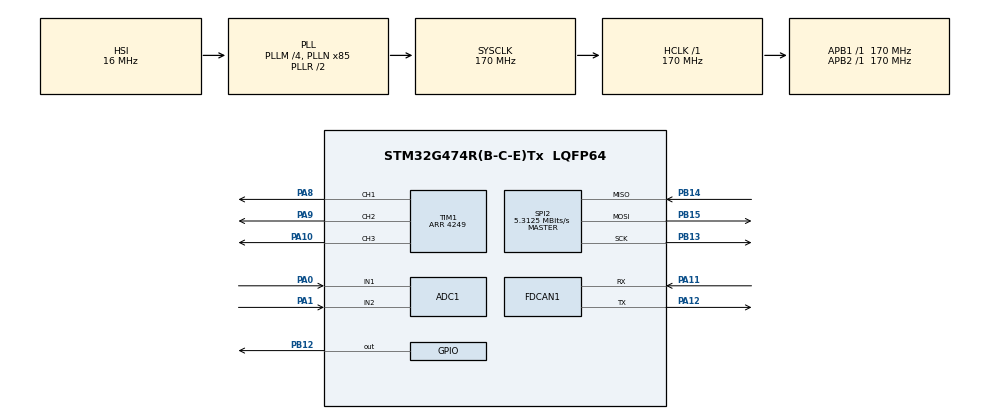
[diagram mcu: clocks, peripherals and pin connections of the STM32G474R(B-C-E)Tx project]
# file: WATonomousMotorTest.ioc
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ADC1.Channel-0\#ChannelRegularConversion=ADC_CHANNEL_1
ADC1.Channel-1\#ChannelRegularConversion=ADC_CHANNEL_2
ADC1.ExternalTrigConv=ADC_EXTERNALTRIG_T1_TRGO
ADC1.NbrOfConversion=2
ADC1.NbrOfConversionFlag=1
ADC1.OffsetNumber-0\#ChannelRegularConversion=ADC_OFFSET_NONE
ADC1.OffsetNumber-1\#ChannelRegularConversion=ADC_OFFSET_NONE
ADC1.Rank-0\#ChannelRegularConversion=1
ADC1.Rank-1\#ChannelRegularConversion=2
ADC1.SamplingTime-0\#ChannelRegularConversion=ADC_SAMPLETIME_2CYCLES_5
ADC1.SamplingTime-1\#ChannelRegularConversion=ADC_SAMPLETIME_2CYCLES_5
ADC1.master=1
Dma.ADC1.0.Direction=DMA_PERIPH_TO_MEMORY
Dma.ADC1.0.EventEnable=DISABLE
Dma.ADC1.0.Instance=DMA1_Channel1
Dma.ADC1.0.MemDataAlignment=DMA_MDATAALIGN_HALFWORD
Dma.ADC1.0.MemInc=DMA_MINC_ENABLE
Dma.ADC1.0.Mode=DMA_CIRCULAR
Dma.ADC1.0.PeriphDataAlignment=DMA_PDATAALIGN_HALFWORD
Dma.ADC1.0.PeriphInc=DMA_PINC_DISABLE
Dma.ADC1.0.Polarity=HAL_DMAMUX_REQ_GEN_RISING
Dma.ADC1.0.Priority=DMA_PRIORITY_LOW
Dma.ADC1.0.RequestNumber=1
Dma.ADC1.0.SignalID=NONE
Dma.ADC1.0.SyncEnable=DISABLE
Dma.ADC1.0.SyncPolarity=HAL_DMAMUX_SYNC_NO_EVENT
Dma.ADC1.0.SyncRequestNumber=1
Dma.ADC1.0.SyncSignalID=NONE
Dma.Request0=ADC1
FDCAN1.CalculateBaudRateNominal=1000000
FDCAN1.CalculateTimeBitNominal=1000
FDCAN1.CalculateTimeQuantumNominal=100.0
FDCAN1.NominalPrescaler=17
FDCAN1.NominalTimeSeg1=5
FDCAN1.NominalTimeSeg2=4
Mcu.Family=STM32G4
Mcu.Name=STM32G474R(B-C-E)Tx
Mcu.Package=LQFP64
NUCLEO-G474RE.BUTTON=1
NUCLEO-G474RE.LD2=true
NUCLEO-G474RE.VCP=true
NVIC.DMA1_Channel1_IRQn=true\:0\:0\:false\:false\:true\:false\:true\:true
NVIC.EXTI15_10_IRQn=true\:0\:0\:false\:false\:true\:false\:true\:true
NVIC.PriorityGroup=NVIC_PRIORITYGROUP_4
NVIC.TIM1_UP_TIM16_IRQn=true\:0\:0\:false\:false\:true\:true\:true\:true
PA0.Mode=IN1-Single-Ended
PA0.Signal=ADC1_IN1
PA1.Mode=IN2-Single-Ended
PA1.Signal=ADC1_IN2
PA10.Signal=S_TIM1_CH3
PA11.Mode=FDCAN_Activate
PA11.Signal=FDCAN1_RX
PA12.Mode=FDCAN_Activate
PA12.Signal=FDCAN1_TX
PA13.GPIO_Label=T_SWDIO
PA13.Signal=SYS_JTMS-SWDIO
PA14.GPIO_Label=T_SWCLK
PA14.Signal=SYS_JTCK-SWCLK
PA2.Signal=LPUART1_TX
PA3.Signal=LPUART1_RX
PA8.Signal=S_TIM1_CH1
PA9.Signal=S_TIM1_CH2
PB12.Signal=GPIO_Output
PB13.Mode=Full_Duplex_Master
PB13.Signal=SPI2_SCK
PB14.Mode=Full_Duplex_Master
PB14.Signal=SPI2_MISO
PB15.Mode=Full_Duplex_Master
PB15.Signal=SPI2_MOSI
PB3.GPIO_Label=T_SWO
PB3.Signal=SYS_JTDO-SWO
PC14-OSC32_IN.GPIO_Label=RCC_OSC32_IN
PC14-OSC32_IN.Signal=RCC_OSC32_IN
PC15-OSC32_OUT.GPIO_Label=RCC_OSC32_OUT
PC15-OSC32_OUT.Signal=RCC_OSC32_OUT
PF0-OSC_IN.GPIO_Label=RCC_OSC_IN
PF0-OSC_IN.Signal=RCC_OSC_IN
PF1-OSC_OUT.GPIO_Label=RCC_OSC_OUT
PF1-OSC_OUT.Signal=RCC_OSC_OUT
ProjectManager.HeapSize=0x200
ProjectManager.StackSize=0x400
ProjectManager.TargetToolchain=STM32CubeIDE
RCC.ADC12Freq_Value=170000000
RCC.ADC345Freq_Value=170000000
RCC.AHBFreq_Value=170000000
RCC.APB1Freq_Value=170000000
RCC.APB1TimFreq_Value=170000000
RCC.APB2Freq_Value=170000000
RCC.APB2TimFreq_Value=170000000
RCC.CortexFreq_Value=170000000
RCC.EXTERNAL_CLOCK_VALUE=12288000
RCC.HCLKFreq_Value=170000000
RCC.HSE_VALUE=24000000
RCC.HSI48_VALUE=48000000
RCC.HSI_VALUE=16000000
RCC.LSE_VALUE=32768
RCC.PLLM=RCC_PLLM_DIV4
RCC.PLLN=85
RCC.RTCClockSelection=RCC_RTCCLKSOURCE_LSE
RCC.SYSCLKFreq_VALUE=170000000
RCC.SYSCLKSource=RCC_SYSCLKSOURCE_PLLCLK
RCC.USBFreq_Value=170000000
RCC.VCOOutputFreq_Value=340000000
SH.S_TIM1_CH1.0=TIM1_CH1,PWM Generation1 CH1
SH.S_TIM1_CH2.0=TIM1_CH2,PWM Generation2 CH2
SH.S_TIM1_CH3.0=TIM1_CH3,PWM Generation3 CH3
SPI2.BaudRatePrescaler=SPI_BAUDRATEPRESCALER_32
SPI2.CalculateBaudRate=5.3125 MBits/s
SPI2.DataSize=SPI_DATASIZE_8BIT
SPI2.Direction=SPI_DIRECTION_2LINES
SPI2.Mode=SPI_MODE_MASTER
SPI2.VirtualType=VM_MASTER
TIM1.AutoReloadPreload=TIM_AUTORELOAD_PRELOAD_ENABLE
TIM1.Channel-PWM\ Generation1\ CH1=TIM_CHANNEL_1
TIM1.Channel-PWM\ Generation2\ CH2=TIM_CHANNEL_2
TIM1.Channel-PWM\ Generation3\ CH3=TIM_CHANNEL_3
TIM1.CounterMode=TIM_COUNTERMODE_CENTERALIGNED1
TIM1.PeriodNoDither=4249
VP_NUCLEO-G474RE_VS_BSP_COMMON.Mode=COMMON
VP_SYS_VS_DBSignals.Mode=DisableDeadBatterySignals
VP_TIM1_VS_ClockSourceINT.Mode=Internal
board=NUCLEO-G474RE

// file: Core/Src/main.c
/* USER CODE BEGIN Header */
/**
  ******************************************************************************
  * @file           : main.c
  * @brief          : GL30 KV290 BLDC open-loop spin test
  *                   PWM: PA8/PA9/PA10 (TIM1 CH1/2/3)
  *                   Current sense: PA0/PA1 (ADC1 CH1/2)
  *                   Encoder: SPI2 PB13/PB14/PB15, CS=PB12
  *                   CAN: PA11/PA12 (FDCAN1)
  ******************************************************************************
  */
/* USER CODE END Header */

#include "main.h"
#include <math.h>
#include <string.h>

/* USER CODE BEGIN PD */
#define PWM_ARR          4249U       // ARR value = 20kHz center-aligned at 170MHz
#define PI               3.14159265f
#define SINE_STEPS       1000        // sine table resolution
/* USER CODE END PD */

/* USER CODE BEGIN PV */
static float    sine_table[SINE_STEPS];
static float    g_angle        = 0.0f;
static float    g_speed        = 0.001f;   // rad per interrupt ~3 rev/s, tune this
static float    g_amplitude    = 0.25f;    // 0.0 to 1.0, start low
static uint8_t  g_motor_on     = 0;        // safety flag, set to 1 to enable

// ADC DMA buffer — index 0 = phase A current, index 1 = phase B current
volatile uint16_t adc_buf[2] = {0, 0};
/* USER CODE END PV */

COM_InitTypeDef BspCOMInit;
ADC_HandleTypeDef hadc1;
DMA_HandleTypeDef hdma_adc1;
FDCAN_HandleTypeDef hfdcan1;
SPI_HandleTypeDef hspi2;
TIM_HandleTypeDef htim1;

void SystemClock_Config(void);
static void MX_GPIO_Init(void);
static void MX_DMA_Init(void);
static void MX_ADC1_Init(void);
static void MX_TIM1_Init(void);
static void MX_FDCAN1_Init(void);
static void MX_SPI2_Init(void);

/* USER CODE BEGIN 0 */

// ---------------------------------------------------------------------------
// Build sine lookup table — call once at startup
// ---------------------------------------------------------------------------
static void build_sine_table(void)
{
    for (int i = 0; i < SINE_STEPS; i++)
    {
        sine_table[i] = sinf(2.0f * PI * (float)i / (float)SINE_STEPS);
    }
}

// ---------------------------------------------------------------------------
// Look up sine value for an angle in radians (0 to 2*PI)
// ---------------------------------------------------------------------------
static inline float sine_lookup(float angle)
{
    // Wrap angle to 0..2PI
    while (angle >= 2.0f * PI) angle -= 2.0f * PI;
    while (angle <  0.0f)      angle += 2.0f * PI;

    int idx = (int)((angle / (2.0f * PI)) * (float)SINE_STEPS);
    if (idx >= SINE_STEPS) idx = SINE_STEPS - 1;
    return sine_table[idx];
}

// ---------------------------------------------------------------------------
// Write 3-phase sinusoidal PWM
// angle    : electrical angle in radians
// amplitude: 0.0 = off, 1.0 = full scale
// ---------------------------------------------------------------------------
static void set_3phase_pwm(float angle, float amplitude)
{
    float a = amplitude * sine_lookup(angle);
    float b = amplitude * sine_lookup(angle + 2.0f * PI / 3.0f);
    float c = amplitude * sine_lookup(angle + 4.0f * PI / 3.0f);

    // Map -1..+1 to 0..ARR (center = ARR/2 = 50% duty)
    TIM1->CCR1 = (uint32_t)((a + 1.0f) * 0.5f * (float)PWM_ARR);
    TIM1->CCR2 = (uint32_t)((b + 1.0f) * 0.5f * (float)PWM_ARR);
    TIM1->CCR3 = (uint32_t)((c + 1.0f) * 0.5f * (float)PWM_ARR);
}

// ---------------------------------------------------------------------------
// TIM1 update interrupt — fires at 20kHz
// This is the motor control loop
// ---------------------------------------------------------------------------
void HAL_TIM_PeriodElapsedCallback(TIM_HandleTypeDef *htim)
{
    if (htim->Instance == TIM1)
    {
        if (g_motor_on)
        {
            g_angle += g_speed;
            if (g_angle >= 2.0f * PI) g_angle -= 2.0f * PI;
            set_3phase_pwm(g_angle, g_amplitude);
        }
        else
        {
            // Motor off — set all phases to 50% (zero voltage vector)
            TIM1->CCR1 = PWM_ARR / 2;
            TIM1->CCR2 = PWM_ARR / 2;
            TIM1->CCR3 = PWM_ARR / 2;
        }
    }
}

// ---------------------------------------------------------------------------
// MT6835 encoder — read raw 21-bit angle over SPI2
// Returns angle as 0..2097151 (2^21 - 1)
// ---------------------------------------------------------------------------
uint32_t MT6835_ReadAngle(void)
{
    uint8_t tx[4] = {0x83, 0x00, 0x00, 0x00}; // Read angle register 0x003
    uint8_t rx[4] = {0x00, 0x00, 0x00, 0x00};

    HAL_GPIO_WritePin(GPIOB, GPIO_PIN_12, GPIO_PIN_RESET); // CS low
    HAL_SPI_TransmitReceive(&hspi2, tx, rx, 4, 10);
    HAL_GPIO_WritePin(GPIOB, GPIO_PIN_12, GPIO_PIN_SET);   // CS high

    // Angle is bits [23:3] of the response = 21 bits
    uint32_t raw = ((uint32_t)rx[1] << 13) |
                   ((uint32_t)rx[2] << 5)  |
                   ((uint32_t)rx[3] >> 3);
    return raw & 0x1FFFFF;
}

// ---------------------------------------------------------------------------
// Convert raw MT6835 reading to radians 0..2PI
// ---------------------------------------------------------------------------
float MT6835_ReadAngleRad(void)
{
    uint32_t raw = MT6835_ReadAngle();
    return ((float)raw / 2097152.0f) * 2.0f * PI;
}

/* USER CODE END 0 */

int main(void)
{
    HAL_Init();
    SystemClock_Config();

    MX_GPIO_Init();
    MX_DMA_Init();
    MX_ADC1_Init();
    MX_TIM1_Init();
    MX_FDCAN1_Init();
    MX_SPI2_Init();

    /* USER CODE BEGIN 2 */

    // Build sine table
    build_sine_table();

    // CS pin idle high
    HAL_GPIO_WritePin(GPIOB, GPIO_PIN_12, GPIO_PIN_SET);

    // Fix TIM1 TRGO to trigger ADC at update event
    TIM_MasterConfigTypeDef sMasterConfig = {0};
    sMasterConfig.MasterOutputTrigger  = TIM_TRGO_UPDATE;
    sMasterConfig.MasterOutputTrigger2 = TIM_TRGO2_RESET;
    sMasterConfig.MasterSlaveMode      = TIM_MASTERSLAVEMODE_DISABLE;
    HAL_TIMEx_MasterConfigSynchronization(&htim1, &sMasterConfig);

    HAL_ADCEx_Calibration_Start(&hadc1, ADC_SINGLE_ENDED);
    // Start ADC with DMA — fills adc_buf[0] and adc_buf[1] automatically
    HAL_ADC_Start_DMA(&hadc1, (uint32_t*)adc_buf, 2);

    // Start PWM on all 3 channels
    HAL_TIM_PWM_Start(&htim1, TIM_CHANNEL_1);
    HAL_TIM_PWM_Start(&htim1, TIM_CHANNEL_2);
    HAL_TIM_PWM_Start(&htim1, TIM_CHANNEL_3);

    // Start TIM1 update interrupt (runs the motor control loop at 20kHz)
    HAL_TIM_Base_Start_IT(&htim1);

    // -----------------------------------------------------------------------
    // SAFETY: motor is OFF by default
    // Set g_motor_on = 1 to start spinning
    // Start with low amplitude (0.15 to 0.25) and increase slowly
    // If motor gets hot or vibrates badly, stop immediately
    // -----------------------------------------------------------------------
    HAL_Delay(500);       // let everything settle
    g_amplitude = 0.20f;  // 20% — safe starting point for GL30
    g_speed     = 0.001f; // slow speed
    g_motor_on  = 1;      // ENABLE MOTOR — comment this out for safe testing

    /* USER CODE END 2 */

    BSP_LED_Init(LED_GREEN);
    BSP_PB_Init(BUTTON_USER, BUTTON_MODE_EXTI);

    BspCOMInit.BaudRate   = 115200;
    BspCOMInit.WordLength = COM_WORDLENGTH_8B;
    BspCOMInit.StopBits   = COM_STOPBITS_1;
    BspCOMInit.Parity     = COM_PARITY_NONE;
    BspCOMInit.HwFlowCtl  = COM_HWCONTROL_NONE;
    if (BSP_COM_Init(COM1, &BspCOMInit) != BSP_ERROR_NONE)
    {
        Error_Handler();
    }

    while (1)
    {
        /* USER CODE BEGIN 3 */

        // Blink LED to show code is running
        BSP_LED_Toggle(LED_GREEN);
        HAL_Delay(500);

        // Optional debug — read encoder angle
        // float enc_angle = MT6835_ReadAngleRad();
        // (set a breakpoint here and watch enc_angle in the debugger)

        /* USER CODE END 3 */
    }
}

// ============================================================================
// All generated init functions below — do not modify
// ============================================================================

void SystemClock_Config(void)
{
    RCC_OscInitTypeDef RCC_OscInitStruct = {0};
    RCC_ClkInitTypeDef RCC_ClkInitStruct = {0};

    HAL_PWREx_ControlVoltageScaling(PWR_REGULATOR_VOLTAGE_SCALE1_BOOST);

    RCC_OscInitStruct.OscillatorType      = RCC_OSCILLATORTYPE_HSI;
    RCC_OscInitStruct.HSIState            = RCC_HSI_ON;
    RCC_OscInitStruct.HSICalibrationValue = RCC_HSICALIBRATION_DEFAULT;
    RCC_OscInitStruct.PLL.PLLState        = RCC_PLL_ON;
    RCC_OscInitStruct.PLL.PLLSource       = RCC_PLLSOURCE_HSI;
    RCC_OscInitStruct.PLL.PLLM            = RCC_PLLM_DIV4;
    RCC_OscInitStruct.PLL.PLLN            = 85;
    RCC_OscInitStruct.PLL.PLLP            = RCC_PLLP_DIV2;
    RCC_OscInitStruct.PLL.PLLQ            = RCC_PLLQ_DIV2;
    RCC_OscInitStruct.PLL.PLLR            = RCC_PLLR_DIV2;
    if (HAL_RCC_OscConfig(&RCC_OscInitStruct) != HAL_OK) Error_Handler();

    RCC_ClkInitStruct.ClockType      = RCC_CLOCKTYPE_HCLK | RCC_CLOCKTYPE_SYSCLK
                                     | RCC_CLOCKTYPE_PCLK1 | RCC_CLOCKTYPE_PCLK2;
    RCC_ClkInitStruct.SYSCLKSource   = RCC_SYSCLKSOURCE_PLLCLK;
    RCC_ClkInitStruct.AHBCLKDivider  = RCC_SYSCLK_DIV1;
    RCC_ClkInitStruct.APB1CLKDivider = RCC_HCLK_DIV1;
    RCC_ClkInitStruct.APB2CLKDivider = RCC_HCLK_DIV1;
    if (HAL_RCC_ClockConfig(&RCC_ClkInitStruct, FLASH_LATENCY_4) != HAL_OK) Error_Handler();
}

static void MX_ADC1_Init(void)
{
    ADC_MultiModeTypeDef multimode = {0};
    ADC_ChannelConfTypeDef sConfig = {0};

    hadc1.Instance                   = ADC1;
    hadc1.Init.ClockPrescaler        = ADC_CLOCK_SYNC_PCLK_DIV4;
    hadc1.Init.Resolution            = ADC_RESOLUTION_12B;
    hadc1.Init.DataAlign             = ADC_DATAALIGN_RIGHT;
    hadc1.Init.GainCompensation      = 0;
    hadc1.Init.ScanConvMode          = ADC_SCAN_ENABLE;
    hadc1.Init.EOCSelection          = ADC_EOC_SINGLE_CONV;
    hadc1.Init.LowPowerAutoWait      = DISABLE;
    hadc1.Init.ContinuousConvMode    = DISABLE;
    hadc1.Init.NbrOfConversion       = 2;
    hadc1.Init.DiscontinuousConvMode = DISABLE;
    hadc1.Init.ExternalTrigConv      = ADC_EXTERNALTRIG_T1_TRGO;
    hadc1.Init.ExternalTrigConvEdge  = ADC_EXTERNALTRIGCONVEDGE_RISING;
    hadc1.Init.DMAContinuousRequests = DISABLE;
    hadc1.Init.Overrun               = ADC_OVR_DATA_PRESERVED;
    hadc1.Init.OversamplingMode      = DISABLE;
    if (HAL_ADC_Init(&hadc1) != HAL_OK) Error_Handler();

    multimode.Mode = ADC_MODE_INDEPENDENT;
    if (HAL_ADCEx_MultiModeConfigChannel(&hadc1, &multimode) != HAL_OK) Error_Handler();

    sConfig.Channel      = ADC_CHANNEL_1;
    sConfig.Rank         = ADC_REGULAR_RANK_1;
    sConfig.SamplingTime = ADC_SAMPLETIME_2CYCLES_5;
    sConfig.SingleDiff   = ADC_SINGLE_ENDED;
    sConfig.OffsetNumber = ADC_OFFSET_NONE;
    sConfig.Offset       = 0;
    if (HAL_ADC_ConfigChannel(&hadc1, &sConfig) != HAL_OK) Error_Handler();

    sConfig.Channel = ADC_CHANNEL_2;
    sConfig.Rank    = ADC_REGULAR_RANK_2;
    if (HAL_ADC_ConfigChannel(&hadc1, &sConfig) != HAL_OK) Error_Handler();
}

static void MX_FDCAN1_Init(void)
{
    hfdcan1.Instance                  = FDCAN1;
    hfdcan1.Init.ClockDivider         = FDCAN_CLOCK_DIV1;
    hfdcan1.Init.FrameFormat          = FDCAN_FRAME_CLASSIC;
    hfdcan1.Init.Mode                 = FDCAN_MODE_NORMAL;
    hfdcan1.Init.AutoRetransmission   = DISABLE;
    hfdcan1.Init.TransmitPause        = DISABLE;
    hfdcan1.Init.ProtocolException    = DISABLE;
    hfdcan1.Init.NominalPrescaler     = 17;
    hfdcan1.Init.NominalSyncJumpWidth = 1;
    hfdcan1.Init.NominalTimeSeg1      = 5;
    hfdcan1.Init.NominalTimeSeg2      = 4;
    hfdcan1.Init.DataPrescaler        = 1;
    hfdcan1.Init.DataSyncJumpWidth    = 1;
    hfdcan1.Init.DataTimeSeg1         = 1;
    hfdcan1.Init.DataTimeSeg2         = 1;
    hfdcan1.Init.StdFiltersNbr        = 0;
    hfdcan1.Init.ExtFiltersNbr        = 0;
    hfdcan1.Init.TxFifoQueueMode      = FDCAN_TX_FIFO_OPERATION;
    if (HAL_FDCAN_Init(&hfdcan1) != HAL_OK) Error_Handler();
}

static void MX_SPI2_Init(void)
{
    hspi2.Instance              = SPI2;
    hspi2.Init.Mode             = SPI_MODE_MASTER;
    hspi2.Init.Direction        = SPI_DIRECTION_2LINES;
    hspi2.Init.DataSize         = SPI_DATASIZE_8BIT;
    hspi2.Init.CLKPolarity      = SPI_POLARITY_LOW;
    hspi2.Init.CLKPhase         = SPI_PHASE_1EDGE;
    hspi2.Init.NSS              = SPI_NSS_SOFT;
    hspi2.Init.BaudRatePrescaler = SPI_BAUDRATEPRESCALER_32;
    hspi2.Init.FirstBit         = SPI_FIRSTBIT_MSB;
    hspi2.Init.TIMode           = SPI_TIMODE_DISABLE;
    hspi2.Init.CRCCalculation   = SPI_CRCCALCULATION_DISABLE;
    hspi2.Init.CRCPolynomial    = 7;
    hspi2.Init.CRCLength        = SPI_CRC_LENGTH_DATASIZE;
    hspi2.Init.NSSPMode         = SPI_NSS_PULSE_ENABLE;
    if (HAL_SPI_Init(&hspi2) != HAL_OK) Error_Handler();
}

static void MX_TIM1_Init(void)
{
    TIM_ClockConfigTypeDef sClockSourceConfig     = {0};
    TIM_MasterConfigTypeDef sMasterConfig         = {0};
    TIM_OC_InitTypeDef sConfigOC                  = {0};
    TIM_BreakDeadTimeConfigTypeDef sBreakDeadTimeConfig = {0};

    htim1.Instance               = TIM1;
    htim1.Init.Prescaler         = 0;
    htim1.Init.CounterMode       = TIM_COUNTERMODE_CENTERALIGNED1;
    htim1.Init.Period            = 4249;
    htim1.Init.ClockDivision     = TIM_CLOCKDIVISION_DIV1;
    htim1.Init.RepetitionCounter = 0;
    htim1.Init.AutoReloadPreload = TIM_AUTORELOAD_PRELOAD_ENABLE;
    if (HAL_TIM_Base_Init(&htim1) != HAL_OK) Error_Handler();

    sClockSourceConfig.ClockSource = TIM_CLOCKSOURCE_INTERNAL;
    if (HAL_TIM_ConfigClockSource(&htim1, &sClockSourceConfig) != HAL_OK) Error_Handler();

    if (HAL_TIM_PWM_Init(&htim1) != HAL_OK) Error_Handler();

    sMasterConfig.MasterOutputTrigger  = TIM_TRGO_UPDATE;  // triggers ADC
    sMasterConfig.MasterOutputTrigger2 = TIM_TRGO2_RESET;
    sMasterConfig.MasterSlaveMode      = TIM_MASTERSLAVEMODE_DISABLE;
    if (HAL_TIMEx_MasterConfigSynchronization(&htim1, &sMasterConfig) != HAL_OK) Error_Handler();

    sConfigOC.OCMode       = TIM_OCMODE_PWM1;
    sConfigOC.Pulse        = 0;
    sConfigOC.OCPolarity   = TIM_OCPOLARITY_HIGH;
    sConfigOC.OCNPolarity  = TIM_OCNPOLARITY_HIGH;
    sConfigOC.OCFastMode   = TIM_OCFAST_DISABLE;
    sConfigOC.OCIdleState  = TIM_OCIDLESTATE_RESET;
    sConfigOC.OCNIdleState = TIM_OCNIDLESTATE_RESET;
    if (HAL_TIM_PWM_ConfigChannel(&htim1, &sConfigOC, TIM_CHANNEL_1) != HAL_OK) Error_Handler();
    if (HAL_TIM_PWM_ConfigChannel(&htim1, &sConfigOC, TIM_CHANNEL_2) != HAL_OK) Error_Handler();
    if (HAL_TIM_PWM_ConfigChannel(&htim1, &sConfigOC, TIM_CHANNEL_3) != HAL_OK) Error_Handler();

    sBreakDeadTimeConfig.OffStateRunMode  = TIM_OSSR_DISABLE;
    sBreakDeadTimeConfig.OffStateIDLEMode = TIM_OSSI_DISABLE;
    sBreakDeadTimeConfig.LockLevel        = TIM_LOCKLEVEL_OFF;
    sBreakDeadTimeConfig.DeadTime         = 0;
    sBreakDeadTimeConfig.BreakState       = TIM_BREAK_DISABLE;
    sBreakDeadTimeConfig.BreakPolarity    = TIM_BREAKPOLARITY_HIGH;
    sBreakDeadTimeConfig.BreakFilter      = 0;
    sBreakDeadTimeConfig.BreakAFMode      = TIM_BREAK_AFMODE_INPUT;
    sBreakDeadTimeConfig.Break2State      = TIM_BREAK2_DISABLE;
    sBreakDeadTimeConfig.Break2Polarity   = TIM_BREAK2POLARITY_HIGH;
    sBreakDeadTimeConfig.Break2Filter     = 0;
    sBreakDeadTimeConfig.Break2AFMode     = TIM_BREAK_AFMODE_INPUT;
    sBreakDeadTimeConfig.AutomaticOutput  = TIM_AUTOMATICOUTPUT_DISABLE;
    if (HAL_TIMEx_ConfigBreakDeadTime(&htim1, &sBreakDeadTimeConfig) != HAL_OK) Error_Handler();

    HAL_TIM_MspPostInit(&htim1);
}

static void MX_DMA_Init(void)
{
    __HAL_RCC_DMAMUX1_CLK_ENABLE();
    __HAL_RCC_DMA1_CLK_ENABLE();

    HAL_NVIC_SetPriority(DMA1_Channel1_IRQn, 0, 0);
    HAL_NVIC_EnableIRQ(DMA1_Channel1_IRQn);
}

static void MX_GPIO_Init(void)
{
    GPIO_InitTypeDef GPIO_InitStruct = {0};

    __HAL_RCC_GPIOC_CLK_ENABLE();
    __HAL_RCC_GPIOF_CLK_ENABLE();
    __HAL_RCC_GPIOA_CLK_ENABLE();
    __HAL_RCC_GPIOB_CLK_ENABLE();

    // PB12 = SPI2 CS, start high (deselected)
    HAL_GPIO_WritePin(GPIOB, GPIO_PIN_12, GPIO_PIN_SET);

    GPIO_InitStruct.Pin   = GPIO_PIN_12;
    GPIO_InitStruct.Mode  = GPIO_MODE_OUTPUT_PP;
    GPIO_InitStruct.Pull  = GPIO_NOPULL;
    GPIO_InitStruct.Speed = GPIO_SPEED_FREQ_HIGH;
    HAL_GPIO_Init(GPIOB, &GPIO_InitStruct);
}

void Error_Handler(void)
{
    __disable_irq();
    while (1) {}
}
